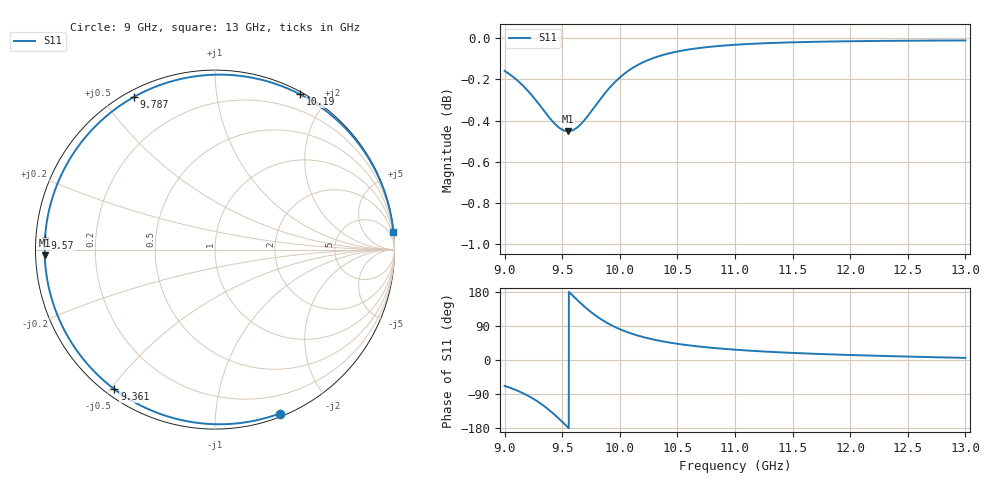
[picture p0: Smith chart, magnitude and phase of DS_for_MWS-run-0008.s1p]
! TOUCHSTONE file generated by CST DESIGN STUDIO
! Date and time: Tue Feb  4 17:55:24 2025
! Project name: C:\Work\MatlabApps\UnitCellOptimizationMatlab\CST\unitcell.cst
! Tree item: Tasks\Sweep1\SPara1\S-Parameters
! Header version: 2024
! Port assignment regex: !\s*Touchstone port\s*([0-9]+)\s*=\s*(CST MWS port|CST DES external port|CST DES block port)\s*(.+)\s* \(\"(.*)\"\)(\s*mode\s*([0-9]+))?.*
! Touchstone port assignment:
! Touchstone port 1 = CST DES external port 1 ("")
# GHz S MA R 50
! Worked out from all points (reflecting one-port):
!   4001 points, 9 GHz to 13 GHz, reference 50 ohm
!   lowest |S11| = -0.5 dB at 9.551 GHz (marker M1), VSWR 38.48, Z = 1.3 - j0.81 ohm
!   phase of S11 starts at -68 deg and turns -286 deg over the sweep
!   S11 on the Smith chart (normalised r, x): 9 GHz: 0.03, -1.47; 9.361 GHz: 0.03, -0.51; 9.57 GHz: 0.03, +0.03; 9.787 GHz: 0.03, +0.60; 10.19 GHz: 0.03, +1.69; 13 GHz: 0, +20
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9  0.9819 -68.5
9.039  0.9803 -72.5
9.104  0.9771 -80.1
9.215  0.9702 -96.3
9.292  0.9643 -110.5
9.361  0.9587 -125.8
9.428  0.9538 -142.7
9.5  0.9502 -163.0
9.551  0.9493 -178.1
9.57  0.9495 176.2
9.625  0.9511 159.9
9.686  0.9547 142.8
9.736  0.9586 129.9
9.787  0.9629 118.0
9.833  0.9668 108.4
9.882  0.9706 99.2
9.937  0.9745 90.2
10  0.9783 81.3
10.092  0.9828 70.6
10.193  0.9864 61.3
10.334  0.99 51.4
10.5  0.9927 42.7
10.721  0.9948 34.5
11  0.9964 27.2
11.5  0.9978 18.7
12  0.9984 13.1
12.5  0.9987 9.0
13  0.9988 5.6
